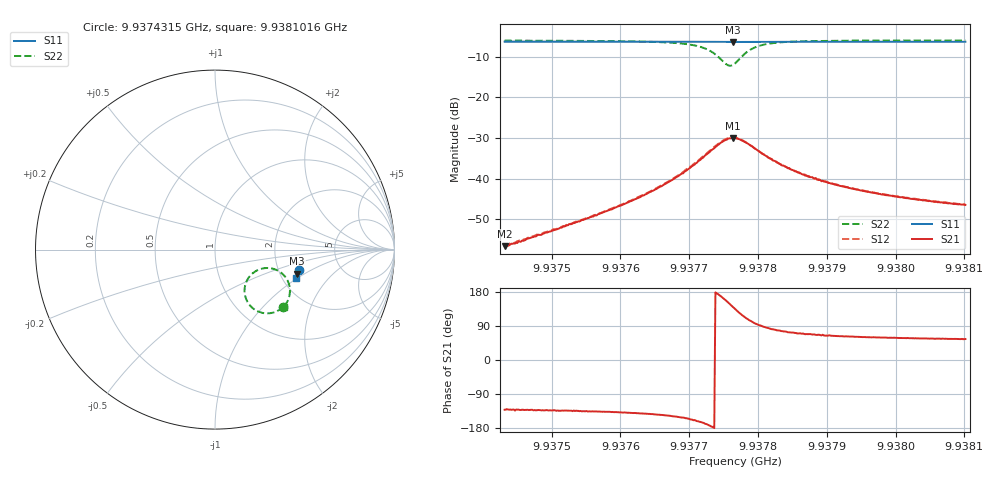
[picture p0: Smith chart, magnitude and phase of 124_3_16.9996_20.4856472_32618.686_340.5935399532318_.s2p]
#  HZ  S  RI  R  50.00
! Rohde & Schwarz Vector Network Analyzer
! Rohde-Schwarz,ZNB20-2Port,1311601062101988,3.16
! Created: UTC 3/20/2024, 10:57:40 PM
! freq[Hz]  re:S11  im:S11  re:S21  im:S21  re:S12  im:S12  re:S22  im:S22
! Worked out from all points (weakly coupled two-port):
!   401 points, 9.9374315 GHz to 9.9381016 GHz, reference 50 ohm
!   highest |S21| = -29.98 dB at 9.9377632 GHz (marker M1); lowest = -56.6 dB at 9.9374315 GHz (marker M2)
!   lowest |S11| = -6.4 dB at 9.9377632 GHz (marker M3), VSWR 2.83, Z = 124 - j43.3 ohm
!   |S11| at or under -10 dB: nowhere
!   |S22| runs from -12.3 to -6.0 dB; largest |S21 - S12| = 0.0017
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9.93743154e9  0.469 -0.115  -0.00098 -0.00112  -0.000987 -0.00112  0.3796 -0.3205
9.93745835e9  0.4684 -0.1168  -0.00114 -0.0013  -0.0012 -0.00132  0.3763 -0.3229
9.93754378e9  0.4663 -0.1224  -0.00223 -0.00219  -0.00224 -0.00218  0.3632 -0.333
9.93760744e9  0.4648 -0.127  -0.00374 -0.00327  -0.00386 -0.00328  0.3462 -0.3429
9.93765602e9  0.4636 -0.1303  -0.00638 -0.00457  -0.00657 -0.00452  0.3211 -0.3517
9.93769288e9  0.4622 -0.133  -0.0108 -0.00562  -0.0111 -0.00546  0.282 -0.355
9.93770963e9  0.4614 -0.1341  -0.0146 -0.0053  -0.0151 -0.00517  0.2515 -0.3491
9.93772303e9  0.4606 -0.135  -0.0189 -0.00394  -0.0192 -0.00374  0.2185 -0.3323
9.93773476e9  0.4597 -0.1353  -0.0232 -0.000971  -0.0239 -0.000158  0.1861 -0.2992
9.93774648e9  0.4589 -0.1354  -0.0272 0.00596  -0.0277 0.00713  0.1648 -0.2387
9.93775653e9  0.4584 -0.1352  -0.0273 0.0147  -0.0272 0.0159  0.179 -0.1703
9.93776323e9  0.4584 -0.1348  -0.0245 0.0202  -0.024 0.0214  0.2113 -0.1307
9.93776658e9  0.4585 -0.1348  -0.0223 0.0224  -0.0215 0.0236  0.2325 -0.1169
9.93777496e9  0.459 -0.1347  -0.0156 0.0256  -0.0147 0.0266  0.2898 -0.1025
9.93778501e9  0.4597 -0.1352  -0.00834 0.0257  -0.00728 0.026  0.3468 -0.1154
9.93780344e9  0.4603 -0.1369  -0.000478 0.0211  0.000286 0.0212  0.3998 -0.1645
9.93784029e9  0.4602 -0.1398  0.00364 0.0136  0.00397 0.0134  0.4176 -0.2321
9.93787882e9  0.4593 -0.1428  0.00405 0.00966  0.00414 0.00951  0.4125 -0.2656
9.9379207e9  0.4583 -0.1459  0.00371 0.00724  0.00387 0.00722  0.4054 -0.2846
9.93799106e9  0.4564 -0.1505  0.00325 0.00532  0.00338 0.00529  0.3955 -0.3024
9.93805807e9  0.4548 -0.1551  0.00291 0.00431  0.00302 0.00435  0.388 -0.3128
9.93810162e9  0.4536 -0.1579  0.00272 0.00392  0.00282 0.0039  0.384 -0.3182
